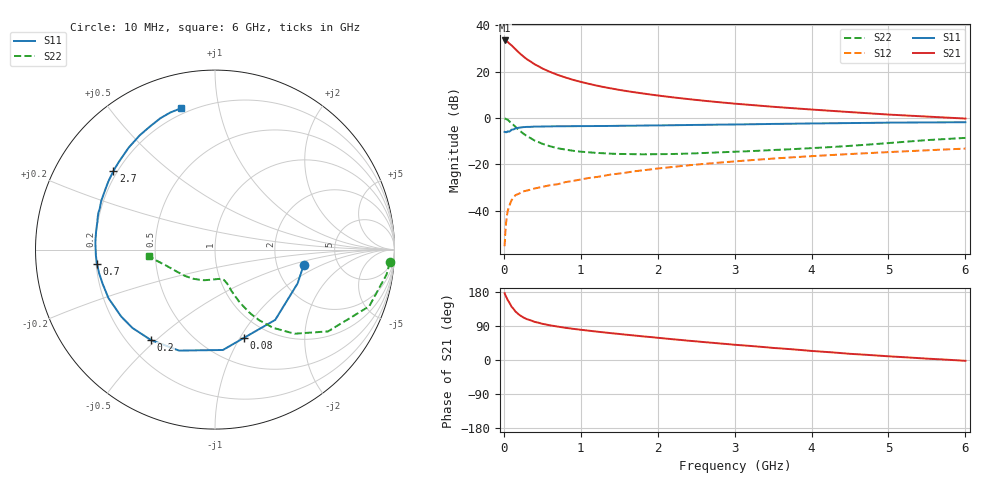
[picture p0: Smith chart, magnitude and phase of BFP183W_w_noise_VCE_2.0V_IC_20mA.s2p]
! (c) 2017  Infineon Technologies AG, Munich
! Infineon Technologies  Discrete & RF Semiconductors
! BFP183W
! VCE =  2.0 V,  IC =  20 mA
! Common Emitter S-Parameters:  Jan 2017
# GHz  S  MA  R  50
!  f  S11  S21  S12  S22
! GHz  MAG  ANG  MAG  ANG  MAG  ANG  MAG  ANG
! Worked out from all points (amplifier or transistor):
!   77 points, 10 MHz to 6 GHz, reference 50 ohm
!   highest |S21| = 33.5 dB at 10 MHz (marker M1)
!   |S21| within 3 dB of that: start of sweep to 127.3 MHz
!   unconditionally stable (mu >= 1): 1.102 GHz to 3.783 GHz
!   at 130 MHz: K = 0.25, MSG = 32.3 dB, |S12| = -34.2 dB
!   at 2.2 GHz: K = 1.07, MAG = 13.4 dB, |S12| = -21.1 dB
!   at 6 GHz: K = 0.89, MSG = 6.5 dB, |S12| = -13.2 dB
!   lowest NFmin = 1.17 dB at 450 MHz
!   S11 on the Smith chart (normalised r, x): 10 MHz: 2.84, -0.66; 80 MHz: 0.77, -1.04; 200 MHz: 0.30, -0.48; 700 MHz: 0.20, -0.06; 2.7 GHz: 0.19, +0.33; 6 GHz: 0.17, +0.77
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0.01  0.5016 -10.0  47.34 176.3  0.0017 80.5  0.9772 -4.1
0.02  0.4973 -22.2  46.99 171.0  0.0035 90.9  0.9658 -8.3
0.05  0.5157 -49.4  43.98 158.3  0.0097 71.2  0.9154 -20.2
0.08  0.5177 -71.9  39.48 148.4  0.0138 63.3  0.825 -29.0
0.1  0.561 -85.5  37.25 140.7  0.0167 60.3  0.7776 -35.9
0.15  0.5973 -109.6  30.77 128.2  0.0215 50.7  0.6452 -46.6
0.2  0.6175 -125.3  25.53 119.2  0.0233 47.7  0.5427 -53.4
0.25  0.6341 -136.5  21.63 112.6  0.0259 44.4  0.4635 -58.0
0.3  0.642 -144.4  18.59 107.8  0.027 43.3  0.4051 -61.1
0.4  0.6523 -155.5  14.48 100.6  0.03 43.5  0.3258 -64.9
0.5  0.6545 -163.2  11.77 95.6  0.0325 44.4  0.2778 -66.9
0.6  0.6591 -168.6  9.913 91.5  0.0353 46.8  0.2451 -68.4
0.7  0.6624 -173.1  8.529 88.2  0.0371 49.2  0.222 -69.1
0.9  0.665 179.5  6.67 82.3  0.0437 51.8  0.1956 -71.0
1.1  0.6685 174.0  5.496 77.5  0.0504 54.2  0.1818 -72.8
1.5  0.6779 164.6  4.049 68.7  0.063 56.6  0.1672 -78.4
2.1  0.6942 152.7  2.924 56.7  0.0843 57.0  0.1659 -91.5
2.7  0.7147 142.4  2.273 45.6  0.105 55.3  0.178 -107.2
3.1  0.7278 136.2  1.98 38.7  0.1187 53.4  0.1892 -117.6
4.1  0.7647 122.2  1.485 22.5  0.153 48.2  0.2279 -142.0
5.1  0.7946 111.6  1.162 8.6  0.1865 42.1  0.2958 -163.8
6  0.8096 103.6  0.971 -2.1  0.2181 36.2  0.3713 -174.6
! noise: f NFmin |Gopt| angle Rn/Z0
0.45  1.17  0.2  171  0.1
0.9  1.2  0.25  174  0.09
1.9  1.68  0.41  -163  0.08
2.4  1.92  0.45  -157  0.12
